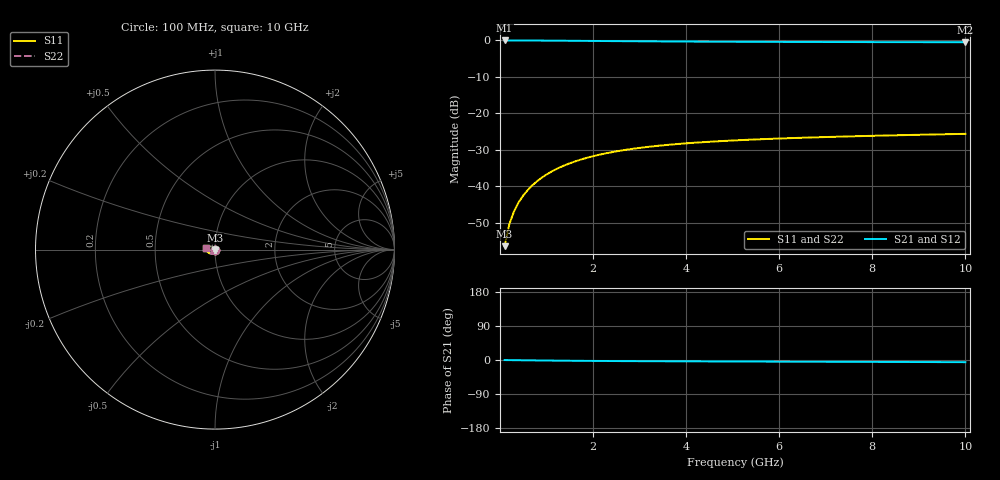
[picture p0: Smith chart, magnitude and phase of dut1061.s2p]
! Touchstone file exported from HFSS 2024.1.0
!  File:  C:/UserFiles/LocalFiles/RDL_TSV_Batchsim/temp_TSV1_1061_1780063478.aedt
!  Generated:  10:11:07 PM May 29, 2026
!  Design:  TSV1
!  Project:  temp_TSV1_1061_1780063478
!  Setup:  Setup1
!  Solution:  Sweep
! Variables:
!  dtsv = 11.73um
!  hbump = 3um
!  htsv = 88.21um
!  lrdl = 252.1521522um
!  p = 40
!  p1 = 59.81um
!  t = 500um
!  trdl = 3um
!  wrdl = 24.89489489um
# GHz S MA R 50.000000
! Terminal data exported
! Port[1] = TSV22_T1
! Port[2] = TSV22_T2
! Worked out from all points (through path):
!   100 points, 100 MHz to 10 GHz, reference 50 ohm
!   highest |S21| = 0.00 dB at 100 MHz (marker M1); lowest = -0.5 dB at 10 GHz (marker M2)
!   lowest |S11| = -56.5 dB at 100 MHz (marker M3), VSWR 1.00, Z = 50 - j0.15 ohm
!   |S11| at or under -10 dB: start of sweep to end of sweep
!   |S22| runs from -56.5 to -25.6 dB; largest |S21 - S12| = 2.8e-15
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0.1  0.001503 -87.8  0.9998 -0.1  0.9998 -0.1  0.001503 -87.8
! Gamma 0 0 0 0
! Port Impedance 50 0 50 0
0.2  0.002999 -91.8  0.9997 -0.3  0.9997 -0.3  0.002999 -91.8
0.3  0.004493 -94.5  0.9994 -0.4  0.9994 -0.4  0.004493 -94.5
0.4  0.005978 -96.9  0.999 -0.6  0.999 -0.6  0.005978 -96.9
0.5  0.00745 -99.1  0.9985 -0.7  0.9985 -0.7  0.00745 -99.1
0.6  0.008902 -101.2  0.9979 -0.9  0.9979 -0.9  0.008902 -101.2
0.7  0.01033 -103.3  0.9973 -1.0  0.9973 -1.0  0.01033 -103.3
0.8  0.01173 -105.4  0.9965 -1.1  0.9965 -1.1  0.01173 -105.4
0.9  0.01311 -107.4  0.9957 -1.3  0.9957 -1.3  0.01311 -107.4
1.1  0.01575 -111.3  0.994 -1.5  0.994 -1.5  0.01575 -111.3
1.4  0.01945 -116.8  0.991 -1.9  0.991 -1.9  0.01945 -116.8
1.6  0.02172 -120.4  0.9888 -2.1  0.9888 -2.1  0.02172 -120.4
1.8  0.02383 -123.7  0.9866 -2.2  0.9866 -2.2  0.02383 -123.7
2.1  0.02672 -128.4  0.9833 -2.5  0.9833 -2.5  0.02672 -128.4
2.5  0.03006 -134.2  0.979 -2.8  0.979 -2.8  0.03006 -134.2
2.9  0.0329 -139.5  0.9749 -3.0  0.9749 -3.0  0.0329 -139.5
3.4  0.03586 -145.3  0.9704 -3.3  0.9704 -3.3  0.03586 -145.3
4.2  0.03956 -153.4  0.9644 -3.6  0.9644 -3.6  0.03956 -153.4
5.1  0.04268 -161.0  0.9593 -4.0  0.9593 -4.0  0.04268 -161.0
6.7  0.04665 -171.9  0.9529 -4.5  0.9529 -4.5  0.04665 -171.9
8.4  0.04979 178.8  0.9486 -5.1  0.9486 -5.1  0.04978 178.8
10  0.05228 171.4  0.9459 -5.7  0.9459 -5.7  0.05228 171.4
